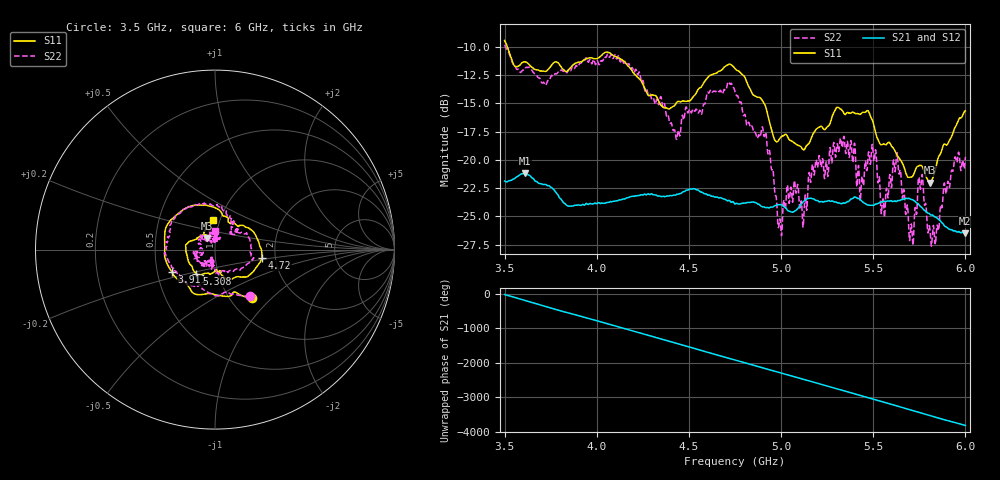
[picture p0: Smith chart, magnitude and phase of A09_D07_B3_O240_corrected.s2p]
! Created with skrf 1.9.0 (http://scikit-rf.org).
# Hz S RI R 50.0
!freq ReS11 ImS11 ReS21 ImS21 ReS12 ImS12 ReS22 ImS22
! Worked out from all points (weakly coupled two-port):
!   1601 points, 3.5 GHz to 6 GHz, reference 50 ohm
!   highest |S21| = -21.17 dB at 3.609 GHz (marker M1); lowest = -26.5 dB at 5.995 GHz (marker M2)
!   lowest |S11| = -22.0 dB at 5.808 GHz (marker M3), VSWR 1.17, Z = 45.2 + j5.83 ohm
!   |S11| at or under -10 dB: 3.515 GHz to end of sweep
!   |S22| runs from -27.6 to -9.8 dB; largest |S21 - S12| = 0.001
!   S11 on the Smith chart (normalised r, x): 3.5 GHz: 1.26, -0.76; 3.911 GHz: 0.60, -0.16; 4.72 GHz: 1.70, -0.16; 5.308 GHz: 0.79, -0.22; 6 GHz: 0.93, +0.31
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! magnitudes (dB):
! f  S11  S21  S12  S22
! 3.5 GHz  -9.4  -21.9  -21.9  -9.8
! 3.609 GHz  -11.3  -21.2  -21.2  -12.0
! 3.911 GHz  -11.3  -24.0  -24.0  -11.5
! 3.917 GHz  -11.3  -24.0  -24.0  -11.4
! 4.334 GHz  -14.7  -23.2  -23.2  -15.1
! 4.441 GHz  -14.8  -23.0  -23.0  -17.5
! 4.72 GHz  -11.5  -23.6  -23.6  -13.3
! 4.75 GHz  -11.9  -23.9  -23.8  -14.0
! 4.909 GHz  -15.0  -24.2  -24.1  -17.9
! 4.994 GHz  -18.1  -24.0  -23.9  -25.2
! 5.167 GHz  -17.9  -23.4  -23.4  -20.8
! 5.308 GHz  -15.3  -23.8  -23.8  -18.8
! 5.438 GHz  -15.9  -23.6  -23.6  -21.6
! 5.503 GHz  -16.9  -24.0  -24.0  -20.0
! 5.553 GHz  -18.6  -23.7  -23.7  -23.4
! 5.584 GHz  -18.4  -23.6  -23.6  -22.4
! 5.636 GHz  -19.7  -23.6  -23.6  -20.7
! 5.706 GHz  -21.5  -23.5  -23.5  -25.7
! 5.758 GHz  -20.5  -24.1  -24.1  -22.5
! 5.808 GHz  -22.0  -24.8  -24.8  -26.2
! 5.995 GHz  -15.7  -26.5  -26.4  -20.6
! 6 GHz  -15.7  -26.5  -26.5  -19.7
